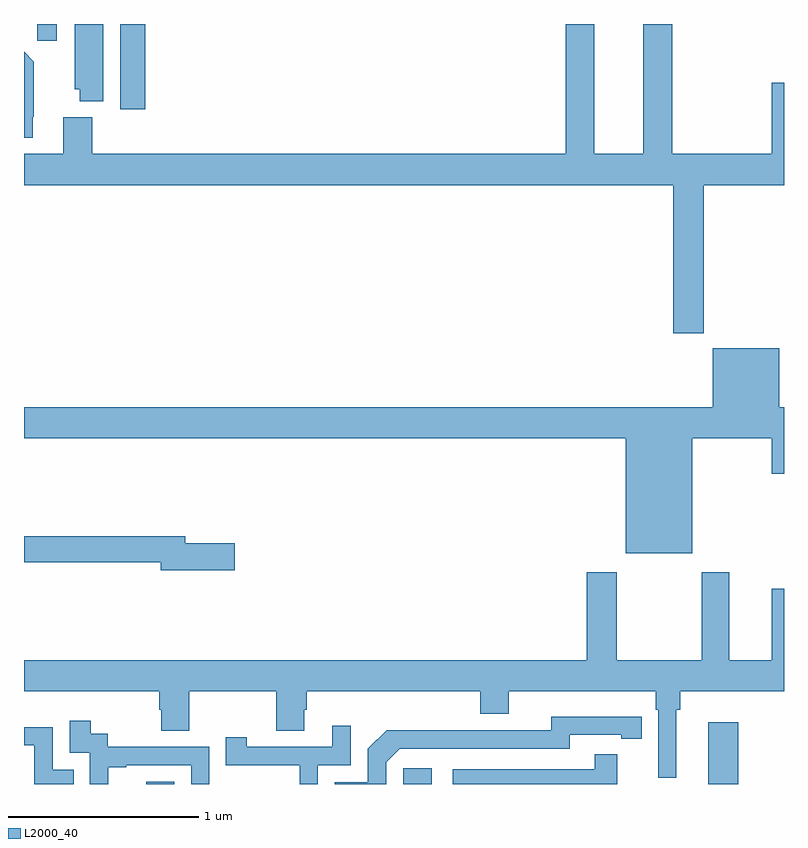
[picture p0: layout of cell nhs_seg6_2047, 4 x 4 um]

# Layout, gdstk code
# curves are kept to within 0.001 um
import gdstk
lib = gdstk.Library(unit=1e-6, precision=1e-09)
def R(c, l, rs):  # rectangles x0, y0, x1, y1
    for r in rs: c.add(gdstk.rectangle(r[:2], r[2:], *l))
def P(c, l, *ps):  # polygons
    for p in ps: c.add(gdstk.Polygon(p, *l))
L2000_40 = (2000, 40)

nhs_seg6_2047 = lib.new_cell('nhs_seg6_2047')
R(nhs_seg6_2047, L2000_40, [(233.643,961.5,233.79,961.513), (234.996,961.5,235.147,961.582), (236.6,961.5,236.759,961.825), (233.507,965.052,233.639,965.5), (233.069,965.412,233.173,965.5)])
P(nhs_seg6_2047, L2000_40, [(236.577,964.652),(237,964.652),(237,965.191),(236.936,965.191),(236.936,964.816),(236.411,964.816),(236.411,965.5),(236.258,965.5),(236.258,964.816),(236.002,964.816),(236.002,965.5),(235.85,965.5),(235.85,964.816),(233.36,964.816),(233.36,965.008),(233.207,965.008),(233.207,964.816),(233,964.816),(233,964.652),(236.417,964.652),(236.417,963.873),(236.577,963.873)],
  [(233.416,965.498),(233.267,965.498),(233.267,965.157),(233.294,965.157),(233.294,965.093),(233.416,965.093)],
  [(233.047,965.011),(233.051,965.011),(233.051,965.302),(233,965.353),(233,964.901),(233.047,964.901)],
  [(236.518,963.32),(236.936,963.32),(236.936,963.132),(237,963.132),(237,963.484),(236.974,963.484),(236.974,963.793),(236.624,963.793),(236.624,963.484),(233,963.484),(233,963.32),(236.168,963.32),(236.168,962.714),(236.518,962.714)],
  [(234.109,962.768),(233.848,962.768),(233.848,962.804),(233,962.804),(233,962.668),(233.72,962.668),(233.72,962.626),(234.109,962.626)],
  [(236.434,961.892),(236.453,961.892),(236.453,961.988),(237,961.988),(237,962.527),(236.936,962.527),(236.936,962.152),(236.713,962.152),(236.713,962.614),(236.566,962.614),(236.566,962.152),(236.121,962.152),(236.121,962.614),(235.961,962.614),(235.961,962.152),(233,962.152),(233,961.988),(233.711,961.988),(233.711,961.89),(233.723,961.89),(233.723,961.78),(233.871,961.78),(233.871,961.988),(234.328,961.988),(234.328,961.78),(234.475,961.78),(234.475,961.89),(234.488,961.89),(234.488,961.988),(235.4,961.988),(235.4,961.871),(235.552,961.871),(235.552,961.988),(236.324,961.988),(236.324,961.892),(236.337,961.892),(236.337,961.533),(236.434,961.533)],
  [(234.906,961.614),(234.978,961.686),(235.872,961.686),(235.872,961.758),(236.144,961.758),(236.144,961.738),(236.252,961.738),(236.252,961.854),(235.776,961.855),(235.776,961.782),(235.316,961.782),(235.316,961.784),(234.908,961.784),(234.81,961.686),(234.81,961.509),(234.636,961.509),(234.636,961.5),(234.906,961.5)],
  [(233.444,961.587),(233.539,961.587),(233.539,961.599),(233.88,961.599),(233.88,961.5),(233.976,961.5),(233.976,961.695),(233.442,961.695),(233.442,961.764),(233.35,961.764),(233.35,961.834),(233.241,961.834),(233.241,961.665),(233.346,961.665),(233.346,961.5),(233.444,961.5)],
  [(234.546,961.599),(234.72,961.599),(234.72,961.807),(234.623,961.807),(234.623,961.695),(234.172,961.695),(234.172,961.747),(234.061,961.747),(234.061,961.599),(234.45,961.599),(234.45,961.5),(234.546,961.5)],
  [(233.261,961.575),(233.151,961.575),(233.151,961.8),(233,961.8),(233,961.704),(233.055,961.704),(233.055,961.5),(233.261,961.5)],
  [(236.123,961.657),(236.005,961.657),(236.005,961.578),(235.257,961.578),(235.257,961.5),(236.123,961.5)])

lib.write_gds('nhs_seg6_2047.gds')
